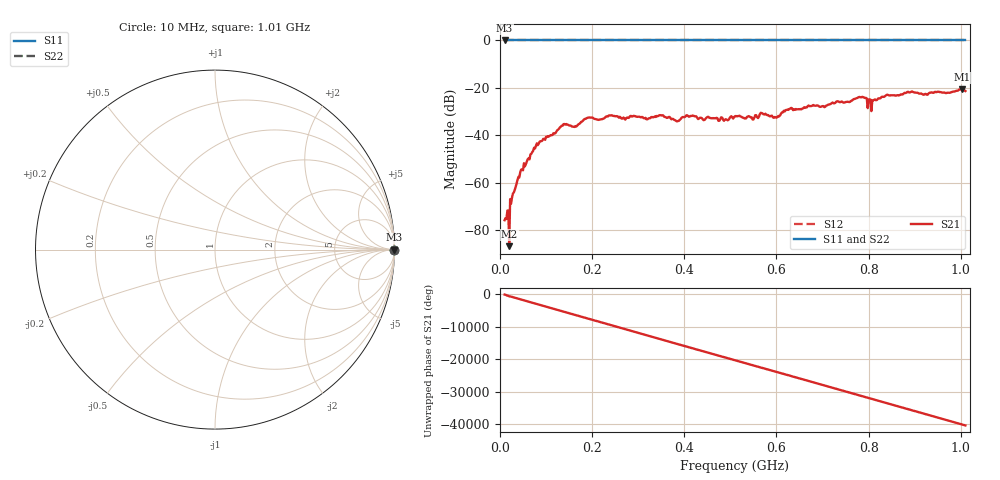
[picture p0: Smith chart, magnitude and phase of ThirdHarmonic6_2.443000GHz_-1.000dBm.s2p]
! 8/17/2025 4:18:53 AM
! C:\ANRITSUVNA\TEMP\TEMP.S2P
! CHANNEL.1
! TR.MEASUREMENT
! RAW.DATA
! RF.CORRECTION.OFF
! AVERAGING.OFF
! IF.BANDWIDTH: 5KHZ
! SWEEPTYPE:  FREQ.SWEEP(Linear)
! Reference Plane Port Info
! PORT:  PORT1  PORT2
! DISTANCE:  0  m  0  m
! TIME:  0  s  0  s
! PHASE.OFFSET:  0  deg.  0  deg.
! LOSS:  0  dB  0  dB
! REF.LOSS:  0  dB  0  dB
! REF.FREQ:  0  Hz  0  Hz
! Power Info
! POWER:  -20  dBm  -20  dBm
! EFF.POWER:  -20  dBm  -20  dBm
! SOURCE.ATTEN:  0  dB  0  dB
! TEST.ATTEN:  0  dB  0  dB
# GHZ S RI R 50.0
! FREQ.GHZ  S11RE  S11IM  S21RE  S21IM  S12RE  S12IM  S22RE  S22IM
!; PortSelection: Port_12
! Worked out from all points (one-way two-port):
!   501 points, 10 MHz to 1.01 GHz, reference 50 ohm
!   highest |S21| = -20.57 dB at 1.002 GHz (marker M1); lowest = -86.6 dB at 20 MHz (marker M2)
!   lowest |S11| = 0.0 dB at 10 MHz (marker M3)
!   |S11| at or under -10 dB: nowhere
!   |S22| runs from 0.0 to 0.0 dB; largest |S21 - S12| = 1.1
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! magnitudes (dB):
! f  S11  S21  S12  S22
! 10 MHz  0.0  -75.7  0.0  0.0
! 20 MHz  0.0  -86.6  0.0  0.0
! 26 MHz  0.0  -66.2  0.0  0.0
! 42 MHz  0.0  -57.7  0.0  0.0
! 76 MHz  0.0  -45.5  0.0  0.0
! 136 MHz  0.0  -35.8  0.0  0.0
! 162 MHz  0.0  -36.4  0.0  0.0
! 178 MHz  0.0  -34.1  0.0  0.0
! 240 MHz  0.0  -31.6  0.0  0.0
! 344 MHz  0.0  -31.7  0.0  0.0
! 384 MHz  0.0  -34.1  0.0  0.0
! 408 MHz  0.0  -31.8  0.0  0.0
! 510 MHz  0.0  -31.9  0.0  0.0
! 568 MHz  0.0  -30.6  0.0  0.0
! 598 MHz  0.0  -32.3  0.0  0.0
! 628 MHz  0.0  -28.8  0.0  0.0
! 678 MHz  0.0  -27.4  0.0  0.0
! 782 MHz  0.0  -23.9  0.0  0.0
! 802 MHz  0.0  -24.8  0.0  0.0
! 844 MHz  0.0  -23.1  0.0  0.0
! 1.002 GHz  0.0  -20.6  0.0  0.0
! 1.01 GHz  0.0  -21.3  0.0  0.0
